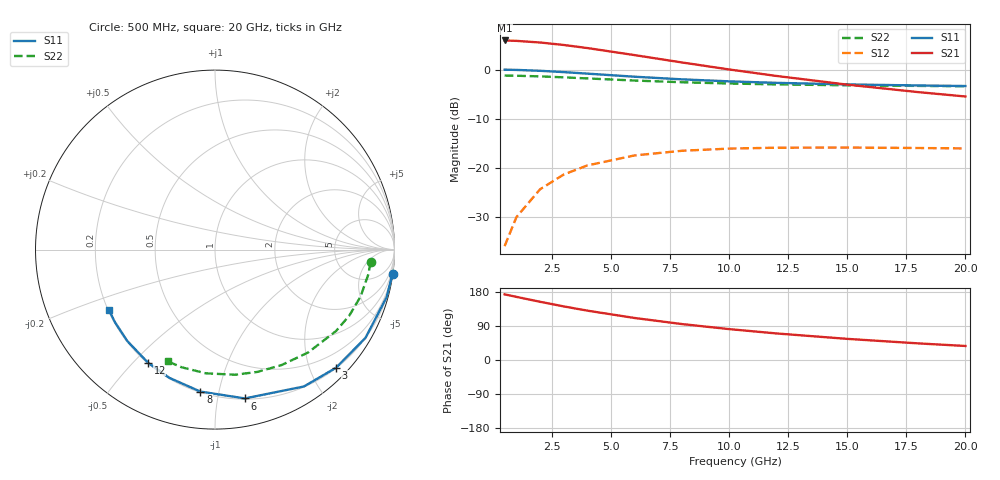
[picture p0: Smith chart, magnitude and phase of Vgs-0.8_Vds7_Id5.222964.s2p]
# Hz S RI R 50
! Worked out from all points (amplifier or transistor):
!   12 points, 500 MHz to 20 GHz, reference 50 ohm
!   highest |S21| = 5.9 dB at 500 MHz (marker M1)
!   |S21| within 3 dB of that: start of sweep to 6.012 GHz
!   unconditionally stable (mu >= 1): 14.07 GHz to end of sweep
!   at 2 GHz: K = 0.12, MSG = 15.0 dB, |S12| = -24.4 dB
!   at 8 GHz: K = 0.50, MSG = 9.0 dB, |S12| = -16.6 dB
!   at 20 GHz: K = 1.63, MAG = 0.7 dB, |S12| = -16.1 dB
!   S11 on the Smith chart (normalised r, x): 500 MHz: 0, -15; 3 GHz: 0.21, -2.44; 6 GHz: 0.21, -1.20; 8 GHz: 0.20, -0.88; 12 GHz: 0.20, -0.55; 20 GHz: 0.20, -0.25
5e8  0.989 -0.1348  -1.97 0.2328  0.0015 0.0157  0.8664 -0.0692
1e9  0.9567 -0.2644  -1.91 0.4557  0.0059 0.0306  0.8547 -0.1369
2e9  0.8387 -0.4911  -1.694 0.84  0.0218 0.0559  0.811 -0.2621
3e9  0.675 -0.6579  -1.396 1.111  0.0437 0.0727  0.7477 -0.3683
4e9  0.4953 -0.7627  -1.073 1.266  0.0671 0.0808  0.6738 -0.4542
6e9  0.1664 -0.8292  -0.501 1.313  0.1078 0.0777  0.5188 -0.5731
8e9  -0.0811 -0.7911  -0.1006 1.179  0.1349 0.0616  0.3709 -0.6434
1e10  -0.2538 -0.7147  0.1481 0.9924  0.1502 0.0425  0.2356 -0.6816
1.2e10  -0.3735 -0.6298  0.2929 0.81  0.1575 0.0245  0.1124 -0.6971
1.5e10  -0.4897 -0.5082  0.3951 0.5806  0.16 0.00219  -0.0502 -0.6895
1.8e10  -0.5598 -0.4004  0.4246 0.4082  0.1576 -0.0147  -0.1868 -0.6553
2e10  -0.5906 -0.336  0.4244 0.3196  0.1549 -0.0236  -0.2641 -0.6225
